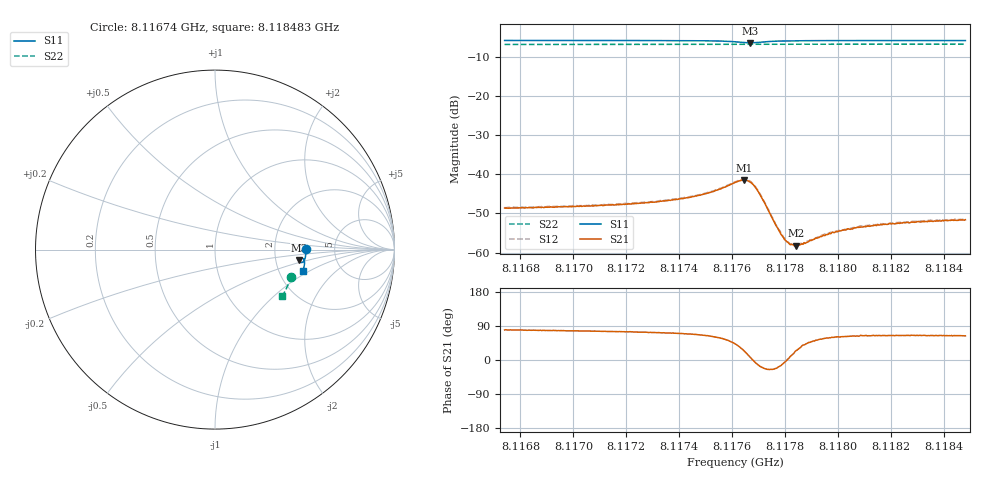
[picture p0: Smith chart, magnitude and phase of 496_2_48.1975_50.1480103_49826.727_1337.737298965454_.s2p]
#  HZ  S  RI  R  50.00
! Rohde & Schwarz Vector Network Analyzer
! Rohde-Schwarz,ZNB20-2Port,1311601062101988,3.16
! Created: UTC 3/20/2024, 11:58:16 AM
! freq[Hz]  re:S11  im:S11  re:S21  im:S21  re:S12  im:S12  re:S22  im:S22
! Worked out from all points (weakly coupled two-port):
!   401 points, 8.11674 GHz to 8.118483 GHz, reference 50 ohm
!   highest |S21| = -41.50 dB at 8.117646 GHz (marker M1); lowest = -58.2 dB at 8.117842 GHz (marker M2)
!   lowest |S11| = -6.5 dB at 8.117668 GHz (marker M3), VSWR 2.79, Z = 136 - j20.4 ohm
!   |S11| at or under -10 dB: nowhere
!   |S22| runs from -6.9 to -6.8 dB; largest |S21 - S12| = 0.00022
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8.1167402e9  0.5068 0.00387  0.000686 0.00364  0.000692 0.00369  0.4245 -0.1512
8.117032e9  0.506 -0.0189  0.000899 0.00378  0.000978 0.00387  0.418 -0.1703
8.1173239e9  0.5034 -0.0429  0.00135 0.00426  0.00145 0.00432  0.4106 -0.1896
8.1174154e9  0.5015 -0.0514  0.0017 0.00459  0.00177 0.00466  0.408 -0.1955
8.1174851e9  0.499 -0.0588  0.00227 0.00498  0.00234 0.00507  0.406 -0.2
8.1175548e9  0.4936 -0.0671  0.00341 0.0055  0.00352 0.00558  0.4038 -0.2044
8.1176114e9  0.4824 -0.072  0.00572 0.00531  0.00587 0.00539  0.4016 -0.2079
8.1176462e9  0.4718 -0.0673  0.0077 0.00341  0.00789 0.00342  0.4001 -0.2098
8.117668e9  0.469 -0.0583  0.00791 0.00108  0.00811 0.00111  0.3995 -0.2106
8.1176855e9  0.472 -0.0513  0.00698 -0.000595  0.00713 -0.000646  0.3992 -0.2112
8.1177029e9  0.4779 -0.0473  0.00551 -0.00152  0.00566 -0.00154  0.399 -0.2123
8.1177682e9  0.4939 -0.053  0.00202 -0.000814  0.00205 -0.000838  0.3978 -0.2166
8.1177944e9  0.4964 -0.0569  0.00154 -0.000241  0.00155 -0.00028  0.397 -0.2184
8.1178074e9  0.497 -0.0589  0.00138 -7.01e-06  0.0014 -2.02e-05  0.3967 -0.2192
8.1178205e9  0.4976 -0.0608  0.00124 0.000206  0.00128 0.000161  0.3964 -0.2202
8.1178423e9  0.4982 -0.0636  0.00111 0.000514  0.00111 0.000484  0.3957 -0.2217
8.1179033e9  0.4988 -0.0706  0.000955 0.00109  0.000956 0.00113  0.3937 -0.2255
8.1179425e9  0.4987 -0.0747  0.000916 0.00135  0.000961 0.00139  0.3925 -0.2279
8.1180035e9  0.4984 -0.0804  0.000907 0.00164  0.000953 0.00168  0.3905 -0.2319
8.1180862e9  0.4974 -0.0876  0.000894 0.00192  0.000987 0.00196  0.3875 -0.237
8.1181951e9  0.4959 -0.0967  0.00101 0.00212  0.000995 0.00214  0.3838 -0.2437
8.1184826e9  0.491 -0.1185  0.00116 0.00235  0.00119 0.00241  0.3735 -0.2608
